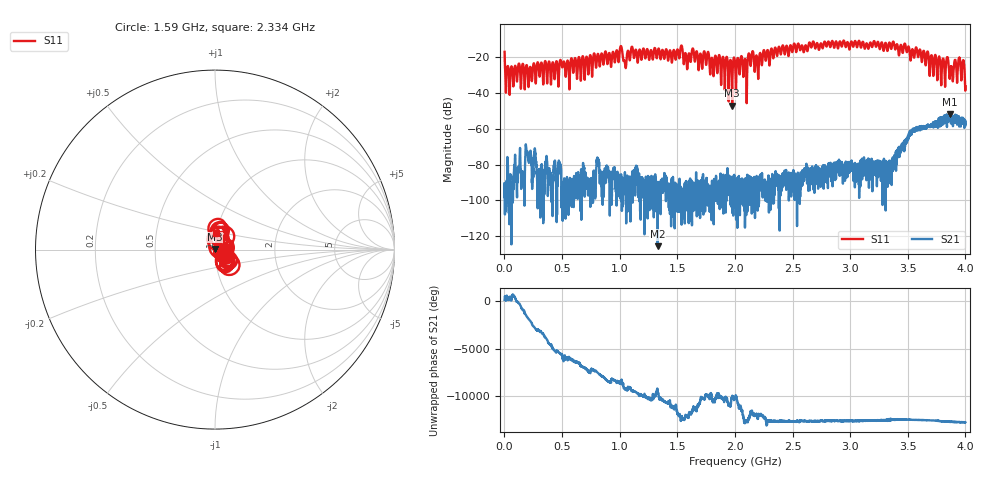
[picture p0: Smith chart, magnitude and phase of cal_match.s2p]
!Created with skrf (http://scikit-rf.org).
# GHz S RI R 50.0
!freq ReS11 ImS11 ReS21 ImS21 ReS12 ImS12 ReS22 ImS22
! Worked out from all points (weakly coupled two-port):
!   4000 points, 1 MHz to 4 GHz, reference 50 ohm
!   highest |S21| = -51.90 dB at 3.869 GHz (marker M1); lowest = -125.5 dB at 1.33 GHz (marker M2)
!   lowest |S11| = -47.1 dB at 1.976 GHz (marker M3), VSWR 1.01, Z = 49.8 + j0.393 ohm
!   |S11| at or under -10 dB: start of sweep to end of sweep
!   S12 and S22 are empty: the file has one direction only
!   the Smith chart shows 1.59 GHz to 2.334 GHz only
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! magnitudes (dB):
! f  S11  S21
! 1 MHz  -17.1  -90.4
! 29 MHz  -25.0  -82.2
! 158 MHz  -23.9  -91.5
! 200 MHz  -27.2  -74.4
! 297 MHz  -25.7  -84.2
! 668 MHz  -25.1  -85.9
! 1.33 GHz  -17.0  -125.5
! 1.334 GHz  -15.7  -89.7
! 1.751 GHz  -24.3  -90.0
! 1.96 GHz  -21.7  -92.6
! 1.976 GHz  -47.1  -91.2
! 2.001 GHz  -23.8  -94.4
! 2.088 GHz  -21.1  -95.7
! 2.138 GHz  -24.5  -90.0
! 2.187 GHz  -19.1  -97.7
! 2.265 GHz  -21.5  -100.2
! 2.667 GHz  -13.9  -85.6
! 3.334 GHz  -13.0  -81.4
! 3.54 GHz  -15.6  -60.4
! 3.869 GHz  -27.7  -51.9
! 3.963 GHz  -30.5  -54.5
! 4 GHz  -36.3  -58.1
